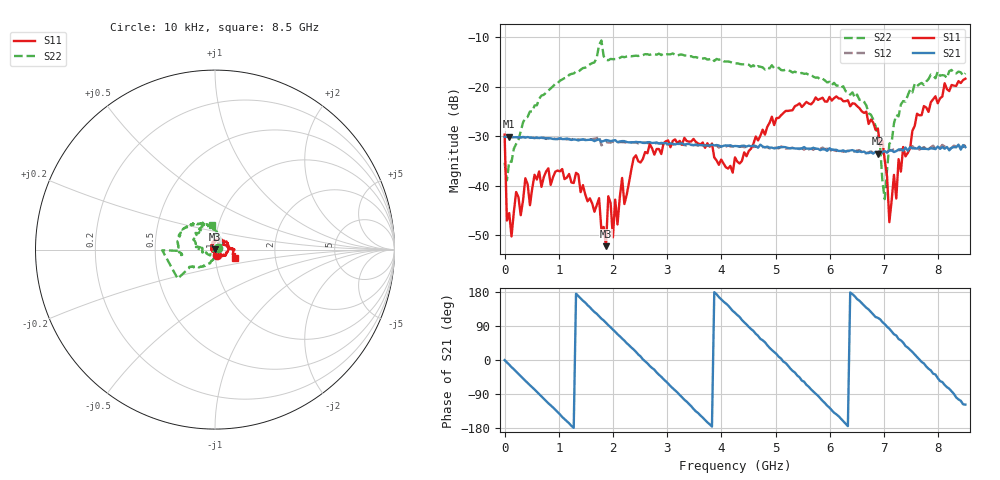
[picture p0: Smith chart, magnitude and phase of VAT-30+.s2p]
#  HZ  S  RI  R  50.00
! Rohde & Schwarz Vector Network Analyzer
! Rohde-Schwarz,ZNB8-4Port,REDACTED,3.12
! Created: UTC 3/23/2026, 9:50:24 PM
! VAT-30+
! freq[Hz]  re:S11  im:S11  re:S21  im:S21  re:S12  im:S12  re:S22  im:S22
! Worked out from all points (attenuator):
!   201 points, 10 kHz to 8.5 GHz, reference 50 ohm
!   highest |S21| = -30.08 dB at 85.01 MHz (marker M1); lowest = -33.5 dB at 6.885 GHz (marker M2)
!   lowest |S11| = -52.2 dB at 1.87 GHz (marker M3), VSWR 1.00, Z = 49.8 + j0.11 ohm
!   |S11| at or under -10 dB: start of sweep to end of sweep
!   |S22| runs from -42.7 to -10.6 dB; largest |S21 - S12| = 0.0037
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10000  0.0127 -0.0303  0.0312 -0.000175  0.0312 0.00185  0.0141 0.00969
4.250995e7  -0.00384 0.00227  0.0311 -0.00345  0.0311 -0.00328  0.0108 -0.00359
8.50099e7  -0.00346 0.00402  0.0306 -0.00669  0.0306 -0.00678  0.0114 -0.0136
6.375092e8  0.0101 0.00963  -0.00012 -0.0303  -0.000504 -0.0298  -0.0254 -0.0714
1.445008e9  0.00989 -0.00238  -0.0271 0.0118  -0.0272 0.0109  -0.1191 -0.0988
1.742508e9  0.00683 0.00309  -0.0128 0.0265  -0.0114 0.0295  -0.2078 -0.1621
1.870008e9  -0.00219 0.00111  -0.00417 0.0287  -0.00407 0.0274  -0.1871 -0.0212
1.912508e9  0.000955 0.0078  -0.00098 0.0287  -0.000705 0.0274  -0.1831 -0.0292
1.997508e9  -0.00181 0.00241  0.00489 0.0282  0.00484 0.0277  -0.1886 -0.0253
2.167507e9  0.00565 0.0106  0.0156 0.0237  0.015 0.0233  -0.2009 -0.0143
2.210007e9  -0.00058 0.00653  0.0178 0.022  0.0178 0.021  -0.1992 -0.00582
2.847507e9  0.0153 0.0179  0.0209 -0.0169  0.0209 -0.0166  -0.2024 0.0768
4.250005e9  -0.0147 -0.0127  -0.0144 0.0208  -0.0146 0.0204  -0.098 0.1417
5.695003e9  0.0554 0.0434  0.00287 -0.0241  0.00277 -0.023  -0.0179 0.1253
6.885002e9  0.0172 -0.0338  -0.00766 0.0197  -0.00806 0.0204  0.0311 0.00942
7.012502e9  0.00896 -0.0157  -0.00183 0.0224  -0.00145 0.0223  0.00626 -0.00384
7.097502e9  -0.00165 -0.00397  0.00294 0.0225  0.00324 0.0228  -0.0173 -0.0203
7.182502e9  0.0129 -0.00108  0.00823 0.0203  0.00787 0.0219  -0.0274 -0.0329
7.225002e9  0.00689 -0.00283  0.00968 0.0202  0.0111 0.0206  -0.047 -0.022
7.267501e9  0.00727 0.0171  0.0132 0.0192  0.0125 0.0192  -0.047 -0.0181
7.607501e9  0.0349 0.0405  0.0235 0.00332  0.0246 0.0036  -0.0996 0.0202
8.5e9  0.1114 -0.0466  -0.0114 -0.0218  -0.014 -0.022  -0.0186 0.1359
